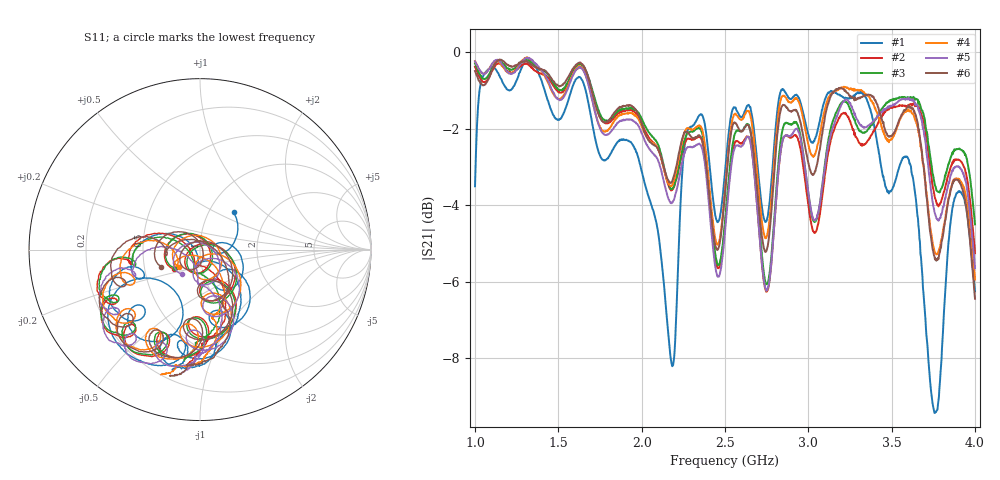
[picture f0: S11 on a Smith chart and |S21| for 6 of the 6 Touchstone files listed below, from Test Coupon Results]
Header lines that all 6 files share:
# MHz S MA R 50
!  freq  S11  S21  S12  S22
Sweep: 1 GHz to 4 GHz
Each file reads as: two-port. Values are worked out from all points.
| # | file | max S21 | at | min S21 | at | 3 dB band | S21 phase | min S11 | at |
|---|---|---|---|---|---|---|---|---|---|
| 1 | JLCM.s2p | -0.18 dB | 1.318 GHz | -9.4 dB | 3.76 GHz | 1.003 GHz-2.003 GHz | 102 deg at 2.502 GHz | -31.9 dB | 3.144 GHz |
| 2 | SATCPWG2.s2p | -0.29 dB | 1.144 GHz | -6.3 dB | 2.748 GHz | 1 GHz-2.144 GHz | 108 deg at 2.502 GHz | -30.5 dB | 1.384 GHz |
| 3 | SATCPWG.s2p | -0.18 dB | 1.309 GHz | -6.1 dB | 2.748 GHz | 1 GHz-2.141 GHz | 112 deg at 2.502 GHz | -33.6 dB | 1.378 GHz |
| 4 | SATM2.s2p | -0.14 dB | 1.312 GHz | -5.9 dB | 4 GHz | 1 GHz-2.138 GHz | 101 deg at 2.502 GHz | -28.1 dB | 3.327 GHz |
| 5 | SONCPWG.s2p | -0.15 dB | 1.312 GHz | -6.2 dB | 2.748 GHz | 1 GHz-2.117 GHz | 110 deg at 2.502 GHz | -28.1 dB | 1.141 GHz |
| 6 | SONM.s2p | -0.19 dB | 1.147 GHz | -6.4 dB | 4 GHz | 1 GHz-2.144 GHz | 99 deg at 2.502 GHz | -36.1 dB | 1.192 GHz |
